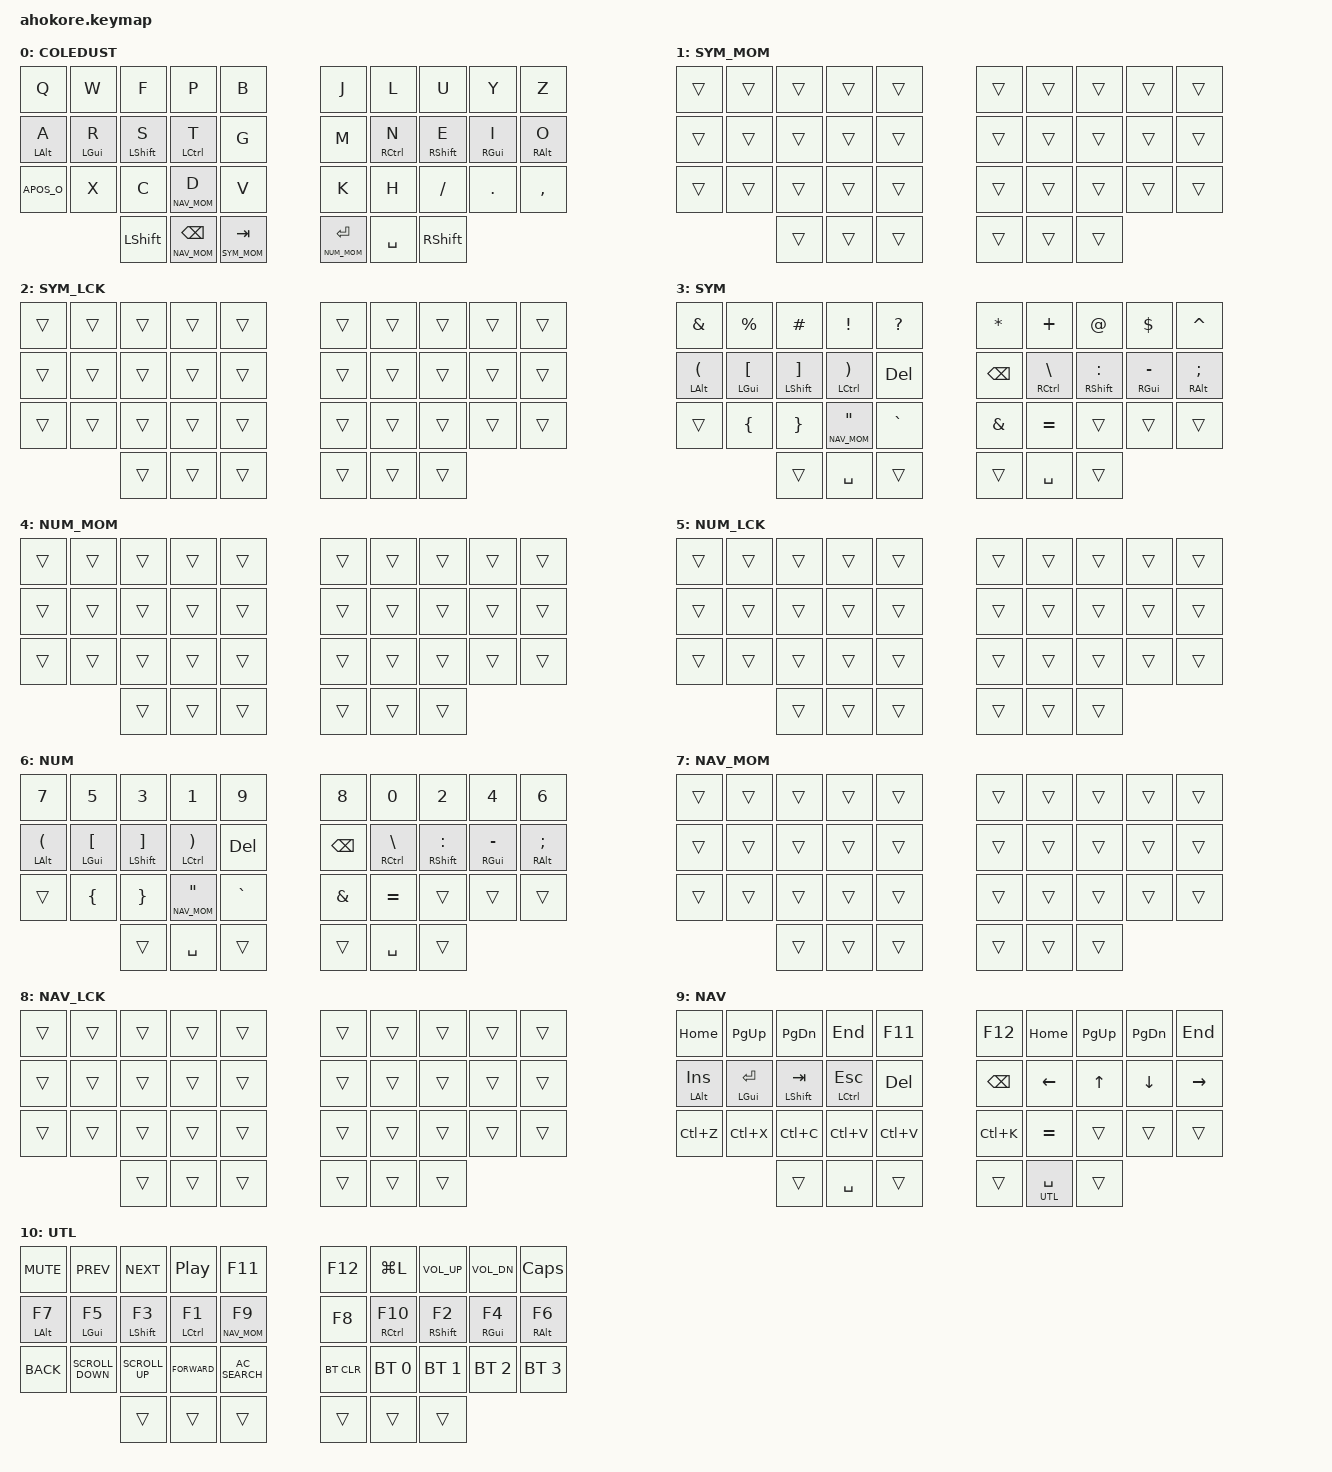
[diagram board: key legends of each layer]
/*
 * Copyright (c) 2020 The ZMK Contributors
 *
 * SPDX-License-Identifier: MIT
 */

#include <behaviors.dtsi>
#include <dt-bindings/zmk/keys.h>
#include <dt-bindings/zmk/bt.h>

#define DFT      0
#define SYM_MOM  1
#define SYM_LCK  2
#define SYM      3
#define NUM_MOM  4
#define NUM_LCK  5
#define NUM      6
#define NAV_MOM  7
#define NAV_LCK  8
#define NAV      9
#define UTL      10

/ {
conditional_layers {
    compatible = "zmk,conditional-layers";
    nav_mom {
        if-layers = <NAV_MOM>;
        then-layer = <NAV>;
    };
    nav_lck {
        if-layers = <NAV_LCK>;
        then-layer = <NAV>;
    };
    num_mom {
        if-layers = <NUM_MOM>;
        then-layer = <NUM>;
    };
    num_lck {
        if-layers = <NUM_LCK>;
        then-layer = <NUM>;
    };
    sym_mom {
        if-layers = <SYM_MOM>;
        then-layer = <SYM>;
    };
    sym_lck {
        if-layers = <SYM_LCK>;
        then-layer = <SYM>;
    };
};

behaviors {

  /* old-style HRMs */
  hm: homerow_mods {
        compatible = "zmk,behavior-hold-tap";
        label = "HOMEROW_MODS";
        #binding-cells = <2>;
        tapping_term_ms = <200>;
        flavor = "tap-preferred";
        bindings = <&kp>, <&kp>;
  };

  /* left-hand HRMs */
  hml: homerow_mods_lhs {
      compatible = "zmk,behavior-hold-tap";
      label = "HOMEROW_MODS_LHS";
      #binding-cells = <2>;
      tapping-term-ms = <280>;
      quick-tap-ms = <175>;                // repeat on tap-into-hold
      flavor = "balanced";
      bindings = <&kp>, <&kp>;
      require-prior-idle-ms = <150>;
      hold-trigger-key-positions = <5 6 7 8 9  15 16 17 18 19  25 26 27 28 29  33 34 35>;
      hold-trigger-on-release;             // delay positional check until key-release
  };

  /* right-hand HRMs */
  hmr: homerow_mods_rhs {
      compatible = "zmk,behavior-hold-tap";
      label = "HOMEROW_MODS_RHS";
      #binding-cells = <2>;
      tapping-term-ms = <280>;
      quick-tap-ms = <175>;                // repeat on tap-into-hold
      flavor = "balanced";
      bindings = <&kp>, <&kp>;
      require-prior-idle-ms = <150>;
      hold-trigger-key-positions = <0 1 2 3 4  10 11 12 13 14  20 21 22 23 24  30 31 32>;
      hold-trigger-on-release;             // delay positional check until key-release
  };

  td_caps_shft: shift_tap_dance {
      compatible = "zmk,behavior-tap-dance";
      #binding-cells = <0>;
      tapping-term-ms = <200>;
      bindings = <&sk LSHFT>, <&caps_word>, <&kp CAPSLOCK>;
  };
  mt_caps_shft: modtap_caps_shift_tap_dance {
      compatible = "zmk,behavior-hold-tap";
      label = "modtap_caps_shift_tap_dance";
      #binding-cells = <2>;
      flavor = "tap-preferred";
      tapping-term-ms = <200>;
      quick-tap-ms = <175>;
      bindings = <&kp>, <&td_caps_shft>;
  };
  td_caps_spc:  space_tap_dance {
      compatible = "zmk,behavior-tap-dance";
      #binding-cells = <0>;
      tapping-term-ms = <200>;
      bindings = <&kp SPACE>, <&caps_word>, <&kp SPACE>;
  };
  lt_caps_spc: layertap_capsword_space_tap_dance {
      compatible = "zmk,behavior-hold-tap";
      label = "layertap_capsword_space_tap_dance";
      #binding-cells = <2>;
      flavor = "tap-preferred";
      tapping-term-ms = <200>;
      quick-tap-ms = <175>;
      bindings = <&mo>, <&td_caps_spc>;
  };
  mt_caps_spc: modtap_caps_space_tap_dance {
      compatible = "zmk,behavior-hold-tap";
      label = "modtap_caps_space_tap_dance";
      #binding-cells = <2>;
      flavor = "tap-preferred";
      tapping-term-ms = <200>;
      quick-tap-ms = <175>;
      bindings = <&kp>, <&td_caps_spc>;
  };

  APOS_O: apos_only {
      compatible = "zmk,behavior-mod-morph";
      #binding-cells = <0>;
      bindings = <&kp APOS>, <&kp APOS>;
      mods = <(MOD_LSFT|MOD_RSFT)>;
  };
  GRAVE_O: grave_only {
      compatible = "zmk,behavior-mod-morph";
      #binding-cells = <0>;
      bindings = <&kp GRAVE>, <&kp GRAVE>;
      mods = <(MOD_LSFT|MOD_RSFT)>;
  };
  SEMI_O: semi_only {
      compatible = "zmk,behavior-mod-morph";
      #binding-cells = <0>;
      bindings = <&kp SEMI>, <&kp SEMI>;
      mods = <(MOD_LSFT|MOD_RSFT)>;
  };
  BSLH_O: bslh_only {
      compatible = "zmk,behavior-mod-morph";
      #binding-cells = <0>;
      bindings = <&kp BSLH>, <&kp BSLH>;
      mods = <(MOD_LSFT|MOD_RSFT)>;
  };
  SLASH_O: slash_only {
      compatible = "zmk,behavior-mod-morph";
      #binding-cells = <0>;
      bindings = <&kp SLASH>, <&kp SLASH>;
      mods = <(MOD_LSFT|MOD_RSFT)>;
  };
  DOT_O: dot_only {
      compatible = "zmk,behavior-mod-morph";
      #binding-cells = <0>;
      bindings = <&kp DOT>, <&kp DOT>;
      mods = <(MOD_LSFT|MOD_RSFT)>;
  };
  COMMA_O: comma_only {
      compatible = "zmk,behavior-mod-morph";
      #binding-cells = <0>;
      bindings = <&kp COMMA>, <&kp COMMA>;
      mods = <(MOD_LSFT|MOD_RSFT)>;
  };


  combos {
    compatible = "zmk,combos";
  
  // ---------------------------- Combos ----------------------------
  // |#####|  %  |  #  |  !  |  ?  |  *  |  ^  |  @  |  $  |#####|
  //    7     5     3     1     9     8     0     2     4     6
  // |#####|     |  _  |     | DEL | BSPC|  :  |  -  |  ;  |#####|
  //    (     [     ]     )     ~    LCK    \     :     >     <
  // |#####|  {  |  }  |  "  |  `  |  &  |  =  |  >  |  <  |#####|
  

    // LHS Combos
    // ----------------------------------------------------------------------------------------------------------------------------

    // LHS Vertical 2-key combos
    combo2_7_vert {
        timeout-ms = <50>;
        key-positions = <0 10>;
        bindings = <&kp N7>;
        layers = <DFT NAV NUM SYM>;
    };
    combo2_5_vert {
        timeout-ms = <50>;
        key-positions = <1 11>;
        bindings = <&kp N5>;
        layers = <DFT NAV NUM SYM>;
    };
    combo2_3_vert {
        timeout-ms = <50>;
        key-positions = <2 12>;
        bindings = <&kp N3>;
        layers = <DFT NAV NUM SYM>;
    };
    combo2_1_vert {
        timeout-ms = <50>;
        key-positions = <3 13>;
        bindings = <&kp N1>;
        layers = <DFT NAV NUM SYM>;
    };
    combo2_9_vert {
        timeout-ms = <50>;
        key-positions = <4 14>;
        bindings = <&kp N9>;
        layers = <DFT NAV NUM SYM>;
    };

    combo2_lpar_vert {
        timeout-ms = <50>;
        key-positions = <10 20>;
        bindings = <&kp LPAR>;
        layers = <DFT NAV NUM SYM>;
    };
    combo2_lbkt_vert {
        timeout-ms = <50>;
        key-positions = <11 21>;
        bindings = <&kp LBKT>;
        layers = <DFT NAV NUM SYM>;
    };
    combo2_rbkt_vert {
        timeout-ms = <50>;
        key-positions = <12 22>;
        bindings = <&kp RBKT>;
        layers = <DFT NAV NUM SYM>;
    };
    combo2_rpar_vert {
        timeout-ms = <50>;
        key-positions = <13 23>;
        bindings = <&kp RPAR>;
        layers = <DFT NAV NUM SYM>;
    };
    combo2_tilde_vert {
        timeout-ms = <50>;
        key-positions = <14 24>;
        bindings = <&kp TILDE>;
        layers = <DFT NAV NUM SYM>;
    };

    // LHS 2-key combos
    combo2_percent {
        timeout-ms = <50>;
        key-positions = <0 1>;
        bindings = <&kp PERCENT>;
        layers = <DFT NAV NUM SYM>;
    };
    combo2_hash {
        timeout-ms = <50>;
        key-positions = <1 2>;
        bindings = <&kp HASH>;
        layers = <DFT NAV NUM SYM>;
    };
    combo2_excl {
        timeout-ms = <50>;
        key-positions = <2 3>;
        bindings = <&kp EXCL>;
        layers = <DFT NAV NUM SYM>;
    };
    combo2_qmark {
        timeout-ms = <50>;
        key-positions = <3 4>;
        bindings = <&kp QMARK>;
        layers = <DFT NAV NUM SYM>;
    };

    combo2_underscore {
        timeout-ms = <50>;
        key-positions = <11 12>;
        bindings = <&kp UNDERSCORE>;
        layers = <DFT NAV NUM SYM>;
    };
    combo2_del {
        timeout-ms = <50>;
        key-positions = <13 14>;
        bindings = <&kp DEL>;
        layers = <DFT NAV NUM SYM>;
    };

    combo2_dqt_diag {
        timeout-ms = <50>;
        key-positions = <12 23>;
        bindings = <&kp DQT>;
        layers = <DFT NAV NUM SYM>;
    };

    combo2_lbrc {
        timeout-ms = <50>;
        key-positions = <20 21>;
        bindings = <&kp LBRC>;
        layers = <DFT NAV NUM SYM>;
    };
    combo2_rbrc {
        timeout-ms = <50>;
        key-positions = <21 22>;
        bindings = <&kp RBRC>;
        layers = <DFT NAV NUM SYM>;
    };
    combo2_dqt {
        timeout-ms = <50>;
        key-positions = <22 23>;
        bindings = <&kp DQT>;
        layers = <DFT NAV NUM SYM>;
    };
    combo2_grave {
        timeout-ms = <50>;
        key-positions = <23 24>;
        bindings = <&GRAVE_O>;
        layers = <DFT NAV NUM SYM>;
    };


    // LHS 3-key combos
    combo3_mute {
        timeout-ms = <50>;
        key-positions = <0 1 2>;
        bindings = <&kp C_MUTE>;
        layers = <DFT NAV NUM SYM>;
    };
    combo3_numword {
        timeout-ms = <50>;
        key-positions = <1 2 3>;
        bindings = <&tog NUM_LCK>;
        layers = <DFT NAV NUM SYM>;
    };
    combo3_play {
        timeout-ms = <50>;
        key-positions = <2 3 4>;
        bindings = <&kp C_PP>;
        layers = <DFT NAV NUM SYM>;
    };
    
    combo3_prev_desktop {
        timeout-ms = <50>;
        key-positions = <10 11 12>;
        bindings = <&kp LC(LG(LEFT))>;
        layers = <DFT NAV NUM SYM>;
    };
    combo3_next_desktop {
        timeout-ms = <50>;
        key-positions = <11 12 13>;
        bindings = <&kp LC(LG(RIGHT))>;
        layers = <DFT NAV NUM SYM>;
    };
    combo3_pgup_lhs {
        timeout-ms = <50>;
        key-positions = <12 13 14>;
        bindings = <&kp PGUP>;
        layers = <DFT NAV NUM SYM>;
    };
    
    combo3_up_lhs {
        timeout-ms = <50>;
        key-positions = <20 21 22>;
        bindings = <&kp UP>;
        layers = <DFT NAV NUM SYM>;
    };
    combo3_down_lhs {
        timeout-ms = <50>;
        key-positions = <21 22 23>;
        bindings = <&kp DOWN>;
        layers = <DFT NAV NUM SYM>;
    };
    combo3_pgdn_lhs {
        timeout-ms = <50>;
        key-positions = <22 23 24>;
        bindings = <&kp PGDN>;
        layers = <DFT NAV NUM SYM>;
    };

    // LHS 4-key combos
    combo4_toggle_nav_lock {
        timeout-ms = <50>;
        key-positions = <0 1 2 3>;
        bindings = <&tog NAV_LCK>;
        layers = <DFT NAV NUM SYM>;
    };
    combo4_toggle_num_lock {
        timeout-ms = <50>;
        key-positions = <1 2 3 4>;
        bindings = <&tog NUM_LCK>;
        layers = <DFT NAV NUM SYM>;
    };

    combo4_esc {
        timeout-ms = <50>;
        key-positions = <10 11 12 13>;
        bindings = <&kp ESC>;
        layers = <DFT NAV NUM SYM>;
    };
    combo4_pgup_lhs {
        timeout-ms = <50>;
        key-positions = <11 12 13 14>;
        bindings = <&kp PGUP>;
        layers = <DFT NAV NUM SYM>;
    };

    combo4_enter {
        timeout-ms = <50>;
        key-positions = <20 21 22 23>;
        bindings = <&kp ENTER>;
        layers = <DFT NAV NUM SYM>;
    };
    combo4_pgdn_lhs {
        timeout-ms = <50>;
        key-positions = <21 22 23 24>;
        bindings = <&kp PGDN>;
        layers = <DFT NAV NUM SYM>;
    };

    // RHS Combos
    // ----------------------------------------------------------------------------------------------------------------------------

    // RHS vertical combos    
    combo2_8_vert {
        timeout-ms = <50>;
        key-positions = <5 15>;
        bindings = <&kp N8>;
        layers = <DFT NAV NUM SYM>;
    };
    combo2_0_vert {
        timeout-ms = <50>;
        key-positions = <6 16>;
        bindings = <&kp N0>;
        layers = <DFT NAV NUM SYM>;
    };
    combo2_2_vert {
        timeout-ms = <50>;
        key-positions = <7 17>;
        bindings = <&kp N2>;
        layers = <DFT NAV NUM SYM>;
    };
    combo2_4_vert {
        timeout-ms = <50>;
        key-positions = <8 18>;
        bindings = <&kp N4>;
        layers = <DFT NAV NUM SYM>;
    };
    combo2_6_vert {
        timeout-ms = <50>;
        key-positions = <9 19>;
        bindings = <&kp N6>;
        layers = <DFT NAV NUM SYM>;
    };

    combo2_pipe_vert {
        timeout-ms = <50>;
        key-positions = <15 25>;
        bindings = <&kp PIPE>;
        layers = <DFT NAV NUM SYM>;
    };
    combo2_bslh_vert {
        timeout-ms = <50>;
        key-positions = <16 26>;
        bindings = <&kp BSLH>;
        layers = <DFT NAV NUM SYM>;
    };
    combo2_colon_vert {
        timeout-ms = <50>;
        key-positions = <17 27>;
        bindings = <&kp COLON>;
        layers = <DFT NAV NUM SYM>;
    };
    combo2_gt_vert {
        timeout-ms = <50>;
        key-positions = <18 28>;
        bindings = <&kp GT>;
        layers = <DFT NAV NUM SYM>;
    };
    combo2_lt_vert {
        timeout-ms = <50>;
        key-positions = <19 29>;
        bindings = <&kp LT>;
        layers = <DFT NAV NUM SYM>;
    };

    // RHS 2-key combos    
    combo2_star {
        timeout-ms = <50>;
        key-positions = <5 6>;
        bindings = <&kp STAR>;
        layers = <DFT NAV NUM SYM>;
    };
    combo2_caret {
        timeout-ms = <50>;
        key-positions = <6 7>;
        bindings = <&kp CARET>;
        layers = <DFT NAV NUM SYM>;
    };
    combo2_at {
        timeout-ms = <50>;
        key-positions = <7 8>;
        bindings = <&kp AT_SIGN>;
        layers = <DFT NAV NUM SYM>;
    };
    combo2_dollar {
        timeout-ms = <50>;
        key-positions = <8 9>;
        bindings = <&kp DOLLAR>;
        layers = <DFT NAV NUM SYM>;
    };

    combo2_bspc {
        timeout-ms = <50>;
        key-positions = <15 16>;
        bindings = <&kp BSPC>;
        layers = <DFT NAV NUM SYM>;
    };
    combo2_colon {
        timeout-ms = <50>;
        key-positions = <16 17>;
        bindings = <&kp COLON>;
        layers = <DFT NAV NUM SYM>;
    };
    combo2_minus {
        timeout-ms = <50>;
        key-positions = <17 18>;
        bindings = <&kp MINUS>;
        layers = <DFT NAV NUM SYM>;
    };
    combo2_semi {
        timeout-ms = <50>;
        key-positions = <18 19>;
        bindings = <&kp SEMI>;
        layers = <DFT NAV NUM SYM>;
    };

    combo2_ampersand {
        timeout-ms = <50>;
        key-positions = <25 26>;
        bindings = <&kp AMPERSAND>;
        layers = <DFT NAV NUM SYM>;
    };
    combo2_equal {
        timeout-ms = <50>;
        key-positions = <26 27>;
        bindings = <&kp EQUAL>;
        layers = <DFT NAV NUM SYM>;
    };
    combo2_gt {
        timeout-ms = <50>;
        key-positions = <27 28>;
        bindings = <&kp GT>;
        layers = <DFT NAV NUM SYM>;
    };
    combo2_lt {
        timeout-ms = <50>;
        key-positions = <28 29>;
        bindings = <&kp LT>;
        layers = <DFT NAV NUM SYM>;
    };


    // RHS 3-key combos
    combo3_lock_screen {
        timeout-ms = <50>;
        key-positions = <5 6 7>;
        bindings = <&kp LG(L)>;
        layers = <DFT NAV NUM SYM>;
    };
    combo3_capsword_rhs {
        timeout-ms = <50>;
        key-positions = <6 7 8>;
        bindings = <&caps_word>;
        layers = <DFT NAV NUM SYM>;
    };
    combo3_task_manager {
        timeout-ms = <50>;
        key-positions = <7 8 9>;
        bindings = <&kp LC(LS(ESC))>;
        layers = <DFT NAV NUM SYM>;
    };  
    
    combo3_pgup_rhs {
        timeout-ms = <50>;
        key-positions = <15 16 17>;
        bindings = <&kp PGUP>;
        layers = <DFT NAV NUM SYM>;
    };
    combo3_home_rhs {
        timeout-ms = <50>;
        key-positions = <16 17 18>;
        bindings = <&kp HOME>;
        layers = <DFT NAV NUM SYM>;
    };
    combo3_end_rhs {
        timeout-ms = <50>;
        key-positions = <17 18 19>;
        bindings = <&kp END>;
        layers = <DFT NAV NUM SYM>;
    };
    
    combo3_pgdn_rhs {
        timeout-ms = <50>;
        key-positions = <25 26 27>;
        bindings = <&kp PGDN>;
        layers = <DFT NAV NUM SYM>;
    };
    combo3_left_rhs {
        timeout-ms = <50>;
        key-positions = <26 27 28>;
        bindings = <&kp LEFT>;
        layers = <DFT NAV NUM SYM>;
    };
    combo3_right_rhs {
        timeout-ms = <50>;
        key-positions = <27 28 29>;
        bindings = <&kp RIGHT>;
        layers = <DFT NAV NUM SYM>;
    };

    // RHS 4-key combos
    
    combo4_toggle_sym_lock {
        timeout-ms = <50>;
        key-positions = <5 6 7 8>;
        bindings = <&tog SYM_LCK>;
        layers = <DFT NAV NUM SYM>;
    };  
    combo4_capslock_rhs {
        timeout-ms = <50>;
        key-positions = <6 7 8 9>;
        bindings = <&kp CAPSLOCK>;
        layers = <DFT NAV NUM SYM>;
    };

    combo4_restore_default_layer {
        timeout-ms = <50>;
        key-positions = <15 16 17 18>;
        bindings = <&to DFT>;
        layers = <DFT NAV NUM SYM>;
    };  
    combo4_app_rhs {
        timeout-ms = <50>;
        key-positions = <16 17 18 19>;
        bindings = <&kp K_APP>;
        layers = <DFT NAV NUM SYM>;
    };

    combo4_pgup_rhs {
        timeout-ms = <50>;
        key-positions = <25 26 27 28>;
        bindings = <&kp PGUP>;
        layers = <DFT NAV NUM SYM>;
    };
    combo4_pgdn_rhs {
        timeout-ms = <50>;
        key-positions = <26 27 28 29>;
        bindings = <&kp PGDN>;
        layers = <DFT NAV NUM SYM>;
    };

  };

};

        keymap {
                compatible = "zmk,keymap";

                default_layer {
                        label = "COLEDUST";
// -----------------------------------------------------------------------------------------
// |  Q  |  W  |  F  |   P    |  B    |    J  |   L   |  U  |  Y  |  Z  |
// |  A  |  R  |  S  |   T    |  G    |    M  |   N   |  E  |  I  |  O  |
// |  '  |  X  |  C  |   D    |  V    |    K  |   H   |  /  |  .  |  ,  |
//             |LSHFT|NAV/BSPC|SYM/TAB|NUM/ENT|  SPC  |RSHFT|
                        bindings = <
   &kp  Q       &kp  W           &kp F             &kp P           &kp B               &kp J         &kp  L            &kp  U                 &kp  Y         &kp  Z
   &hml LALT A  &hml LGUI R      &hml LSHFT S      &hml LCTRL T    &kp G               &kp M         &hmr RCTRL N      &hmr RSHFT E           &hmr RGUI I    &hmr RALT O
   &APOS_O      &kp X            &kp C             &lt NAV_MOM D   &kp V               &kp K         &kp H             &kp SLASH              &kp DOT        &kp COMMA
                &kp LSHFT        &lt NAV_MOM BSPC  &lt SYM_MOM TAB                                   &lt NUM_MOM ENTER &kp SPC                &kp RSHFT
                        >;
                };

                sym_mom_layer {
                        label = "SYM_MOM";
                        bindings = <
   &trans         &trans         &trans            &trans          &trans              &trans        &trans            &trans                 &trans         &trans
   &trans         &trans         &trans            &trans          &trans              &trans        &trans            &trans                 &trans         &trans
   &trans         &trans         &trans            &trans          &trans              &trans        &trans            &trans                 &trans         &trans
                  &trans         &trans            &trans                                            &trans            &trans                 &trans
                        >;
                };

                sym_lck_layer {
                        label = "SYM_LCK";
                        bindings = <
   &trans         &trans         &trans            &trans          &trans              &trans        &trans            &trans                 &trans         &trans
   &trans         &trans         &trans            &trans          &trans              &trans        &trans            &trans                 &trans         &trans
   &trans         &trans         &trans            &trans          &trans              &trans        &trans            &trans                 &trans         &trans
                  &trans         &trans            &trans                                            &trans            &trans                 &trans
                        >;
                };

                sym_layer {
                        label = "SYM";
// --------------------------- SYM Layer ---------------------------
// |  &  |  %  |  #  |  !  |  ?  |  *  |  +  |  @  |  $  |  ^  |
// |  (  |  [  |  ]  |  )  | DEL | BSPC|  \  |  :  |  -  |  ;  |
// |  '  |  {  |  }  |  "  |  `  |  &  |  =  |  /  |  .  |  ,  |
//             |     | SPC |     |     | SPC |     |
                        bindings = <
   &kp  AMPERSAND &kp  PERCENT   &kp  HASH         &kp  EXCL       &kp QMARK           &kp STAR      &kp  PLUS         &kp  AT_SIGN           &kp  DOLLAR     &kp  CARET
   &hml LALT LPAR &hml LGUI LBKT &hml LSHFT RBKT   &hml LCTRL RPAR &kp DEL             &kp BSPC      &hmr RCTRL BSLH   &hmr RSHFT COLON       &hmr RGUI MINUS &hmr RALT SEMI
   &trans         &kp LBRC       &kp RBRC          &lt NAV_MOM DQT &kp GRAVE           &kp AMPERSAND &kp  EQUAL        &trans                 &trans          &trans
                  &trans         &kp SPACE         &trans                                            &trans            &kp SPACE              &trans
                        >;
                };

                num_mom_layer {
                        label = "NUM_MOM";
                        bindings = <
   &trans         &trans         &trans            &trans          &trans              &trans        &trans            &trans                 &trans          &trans
   &trans         &trans         &trans            &trans          &trans              &trans        &trans            &trans                 &trans          &trans
   &trans         &trans         &trans            &trans          &trans              &trans        &trans            &trans                 &trans          &trans
                  &trans         &trans            &trans                                            &trans            &trans                 &trans
                        >;
                };

                num_lck_layer {
                        label = "NUM_LCK";
                        bindings = <
   &trans         &trans         &trans            &trans          &trans              &trans        &trans            &trans                 &trans          &trans
   &trans         &trans         &trans            &trans          &trans              &trans        &trans            &trans                 &trans          &trans
   &trans         &trans         &trans            &trans          &trans              &trans        &trans            &trans                 &trans          &trans
                  &trans         &trans            &trans                                            &trans            &trans                 &trans
                        >;
                };

                num_layer {
                        label = "NUM";
// -----------------------------------------------------------------------------------------
// |  7  |  5  |  3  |  1  |  9  |  8  |  0  |  2  |  4  |  6  |
// |  (  |  [  |  ]  |  )  | DEL | BSPC|  \  |  :  |  -  |  ;  |
// |  '  |  {  |  }  |  "  |  `  |  &  |  =  |  /  |  .  |  ,  |
//             |     | SPC |     |     | SPC |     |
                        bindings = <
   &kp N7         &kp  N5        &kp  N3           &kp  N1         &kp N9              &kp N8        &kp N0            &kp  N2                &kp  N4         &kp  N6
   &hml LALT LPAR &hml LGUI LBKT &hml LSHFT RBKT   &hml LCTRL RPAR &kp DEL             &kp BSPC      &hmr RCTRL BSLH   &hmr RSHFT COLON       &hmr RGUI MINUS &hmr RALT SEMI
   &trans         &kp LBRC       &kp RBRC          &lt NAV_MOM DQT &kp GRAVE           &kp AMPERSAND &kp  EQUAL        &trans                 &trans          &trans
                  &trans         &kp SPACE         &trans                                            &trans            &kp SPACE              &trans
                          >;
                };

                nav_mom_layer {
                        label = "NAV_MOM";
                        bindings = <
   &trans         &trans         &trans            &trans          &trans              &trans        &trans            &trans                 &trans         &trans
   &trans         &trans         &trans            &trans          &trans              &trans        &trans            &trans                 &trans         &trans
   &trans         &trans         &trans            &trans          &trans              &trans        &trans            &trans                 &trans         &trans
                  &trans         &trans            &trans                                            &trans            &trans                 &trans
                        >;
                };

                nav_lck_layer {
                        label = "NAV_LCK";
                        bindings = <
   &trans         &trans         &trans            &trans          &trans              &trans        &trans            &trans                 &trans         &trans
   &trans         &trans         &trans            &trans          &trans              &trans        &trans            &trans                 &trans         &trans
   &trans         &trans         &trans            &trans          &trans              &trans        &trans            &trans                 &trans         &trans
                  &trans         &trans            &trans                                            &trans            &trans                 &trans
                        >;
                };

                nav_layer {
                        label = "NAV";
// -----------------------------------------------------------------------------------------
// | HOME| PGUP| PGDN| END | F11   |   F12 |  HOME | PGUP | PGDN | END  |
// | INS | RET | TAB | ESC | DEL   |  BSPC |  LEFT |  UP  | DOWN | RIGHT|
// | UNDO| CUT | COPY|PASTE|PASTE  | CTRL-K|    =  |      |      |      |
//             |     | SPC |       |       |UTL/SPC|      |
                        bindings = <
   &kp HOME       &kp  PG_UP     &kp  PG_DN        &kp  END        &kp F11             &kp F12       &kp HOME          &kp PG_UP              &kp PG_DN      &kp  END
   &hm LALT INS   &hm  LGUI RET  &hm  LSHFT TAB    &hm  LCTRL ESC  &kp DEL             &kp BSPC      &kp LEFT          &kp UP                 &kp DOWN       &kp RIGHT
   &kp LC(Z)      &kp  LC(X)     &kp  LC(C)        &kp  LC(V)      &kp LC(V)           &kp LC(K)     &kp EQUAL         &trans                 &trans         &trans
                  &trans         &kp SPACE         &trans                                            &trans            &lt UTL SPACE          &trans
                        >;
                };

                utl_layer {
                        label = "UTL";
// -----------------------------------------------------------------------------------------
// | MUTE| PREV| NEXT| PLAY | F11 |  F12 | LOCK |VOL_UP|VOL_DN|CPSLCK|
// | F7  | F5  | F3  | F1   | F9  |  F8  |  F10 |  F2  |  F4  |  F6  |
// | BACK| DOWN| UP  | FWD  | ??? | BTCLR|  BT0 |  BT1 |  BT2 |  BT3 |
//             |     |      |     |      |      |      |
                        bindings = <
   &kp  C_MUTE    &kp  C_PREV       &kp  C_NEXT     &kp  C_PP      &kp F11             &kp F12       &kp  LG(L)        &kp  C_VOL_UP          &kp  C_VOL_DN  &kp  CAPSLOCK
   &hml LALT F7   &hml LGUI F5      &hml LSHFT F3   &hml LCTRL F1  &lt NAV_MOM F9      &kp F8        &hmr RCTRL F10    &hmr RSHFT F2          &hmr RGUI F4   &hmr RALT F6
   &kp  K_BACK    &kp K_SCROLL_DOWN &kp K_SCROLL_UP &kp K_FORWARD  &kp C_AC_SEARCH     &bt BT_CLR    &bt  BT_SEL 0     &bt  BT_SEL 1          &bt  BT_SEL 2  &bt  BT_SEL 3
                  &trans            &trans          &trans                                           &trans            &trans                 &trans
                        >;
                };
                
        };
};
